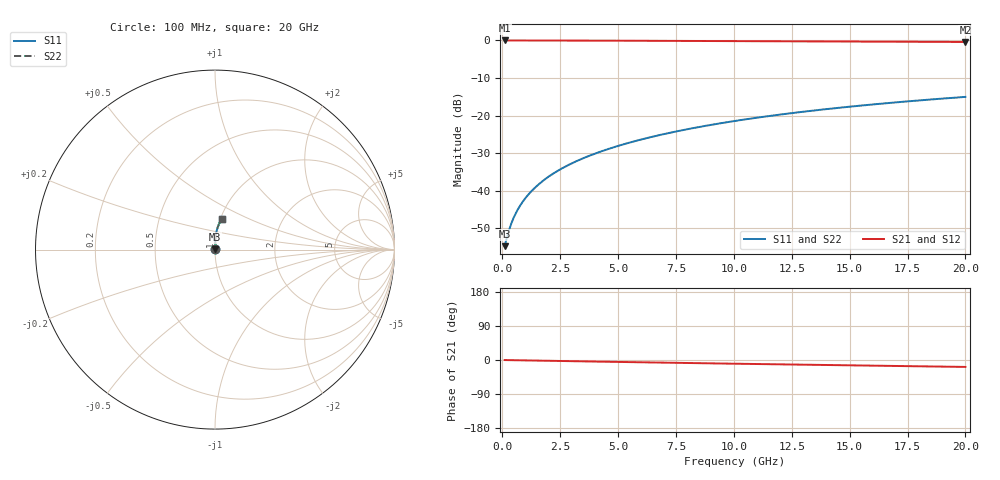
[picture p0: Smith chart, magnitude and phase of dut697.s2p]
! Touchstone file exported from HFSS 2024.1.0
!  File:  C:/UserFiles/LocalFiles/RDL_TSV_Batchsim/temp_RDL_top_697_1779783059.aedt
!  Generated:  04:13:11 PM May 26, 2026
!  Design:  RDL_top
!  Project:  temp_RDL_top_697_1779783059
!  Setup:  Setup1
!  Solution:  Sweep
! Variables:
!  dtsv = 10.80580581um
!  hbump = 3um
!  htsv = 91.05um
!  ldown = 100um
!  lrdl = 251.63um
!  p = 40
!  p1 = 41.56um
!  rhole = 1um
!  t = 450um
!  tdown = 3.915915916um
!  trdl = 2.99um
!  wdown = 15.38538539um
!  wrdl = 21.98um
# GHz S MA R 50.000000
! Terminal data exported
! Port[1] = Box2_T1
! Port[2] = Box2_T2
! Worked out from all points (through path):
!   200 points, 100 MHz to 20 GHz, reference 50 ohm
!   highest |S21| = -0.01 dB at 100 MHz (marker M1); lowest = -0.4 dB at 20 GHz (marker M2)
!   group delay of S21, straight-line fit = 2.51 ps
!   lowest |S11| = -54.7 dB at 100 MHz (marker M3), VSWR 1.00, Z = 50.2 + j0.0868 ohm
!   |S11| at or under -10 dB: start of sweep to end of sweep
!   |S22| runs from -54.7 to -15.0 dB; largest |S21 - S12| = 4e-15
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0.1  0.001834 28.2  0.9984 -0.1  0.9984 -0.1  0.001834 28.2
! Gamma 0 0 0 0
! Port Impedance 50 0 50 0
0.3  0.003057 55.1  0.9982 -0.3  0.9982 -0.3  0.003057 55.1
0.4  0.003749 61.0  0.9981 -0.4  0.9981 -0.4  0.003749 61.0
0.5  0.004446 65.1  0.998 -0.5  0.998 -0.5  0.004446 65.1
0.6  0.005146 68.2  0.9979 -0.6  0.9979 -0.6  0.005146 68.2
0.8  0.006559 72.6  0.9978 -0.9  0.9978 -0.9  0.006559 72.6
1  0.007992 75.7  0.9976 -1.1  0.9976 -1.1  0.007992 75.7
1.2  0.009445 78.0  0.9975 -1.3  0.9975 -1.3  0.009445 78.0
1.4  0.01092 79.7  0.9973 -1.5  0.9973 -1.5  0.01092 79.7
1.7  0.01315 81.7  0.997 -1.8  0.997 -1.8  0.01315 81.7
2.2  0.01694 83.9  0.9965 -2.3  0.9965 -2.3  0.01694 83.9
2.8  0.02158 85.6  0.9956 -2.9  0.9956 -2.9  0.02158 85.6
3.5  0.02714 86.8  0.9944 -3.6  0.9944 -3.6  0.02714 86.8
4.2  0.03283 87.6  0.9931 -4.3  0.9931 -4.3  0.03283 87.6
5  0.03951 88.1  0.9914 -5.1  0.9914 -5.1  0.03951 88.1
5.9  0.04724 88.4  0.9892 -6.0  0.9892 -6.0  0.04724 88.3
6.8  0.05516 88.3  0.987 -6.8  0.987 -6.8  0.05516 88.3
8.4  0.06963 87.7  0.9828 -8.3  0.9828 -8.3  0.06963 87.7
10.1  0.08538 86.7  0.9783 -9.9  0.9783 -9.9  0.08538 86.7
13.4  0.1164 83.9  0.9697 -12.7  0.9697 -12.7  0.1164 83.9
16.7  0.1472 80.8  0.9613 -15.5  0.9613 -15.5  0.1472 80.8
20  0.1773 77.7  0.953 -18.3  0.953 -18.3  0.1773 77.6
